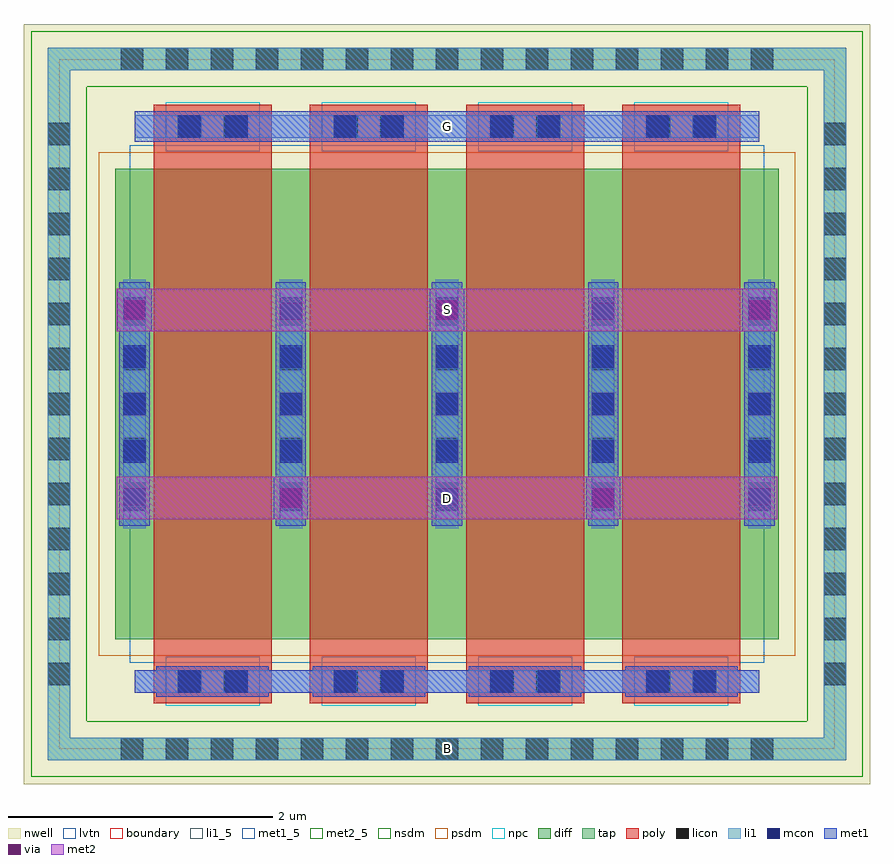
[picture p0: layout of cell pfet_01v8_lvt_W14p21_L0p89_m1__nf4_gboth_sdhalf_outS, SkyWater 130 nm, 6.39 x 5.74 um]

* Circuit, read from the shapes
.subckt pfet_01v8_lvt_W14p21_L0p89_m1__nf4_gboth_sdhalf_outS B D G S
XM1 D G S B sky130_fd_pr__pfet_01v8_lvt w=3.55 l=0.89 m=4
.ends

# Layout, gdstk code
import gdstk
lib = gdstk.Library(unit=1e-6, precision=1e-09)
def R(c, l, rs):  # rectangles x0, y0, x1, y1
    for r in rs: c.add(gdstk.rectangle(r[:2], r[2:], *l))
def A(c, l, x, y, w, h, nx, ny, dx, dy):  # array of equal rectangles
    R(c, l, [(x+i*dx, y+j*dy, x+i*dx+w, y+j*dy+h) for i in range(nx) for j in range(ny)])
nwell = (64, 20)
diff = (65, 20)
tap = (65, 44)
poly = (66, 20)
licon = (66, 44)
li1_5 = (67, 5)
li1 = (67, 20)
mcon = (67, 44)
met1_5 = (68, 5)
met1 = (68, 20)
via = (68, 44)
met2_5 = (69, 5)
met2 = (69, 20)
nsdm = (93, 44)
psdm = (94, 20)
npc = (95, 20)
lvtn = (125, 44)
boundary = (235, 4)

sky130_fd_pr__pfet_01v8_ = lib.new_cell('sky130_fd_pr__pfet_01v8_lvt_37QT9V')
R(sky130_fd_pr__pfet_01v8_, nwell, [(-3.195,-2.87,3.195,2.87)])
R(sky130_fd_pr__pfet_01v8_, diff, [(-2.505,-1.775,2.505,1.775)])
R(sky130_fd_pr__pfet_01v8_, tap, [(-3.015,-2.69,3.015,-2.52), (-3.015,-2.52,-2.845,2.52), (2.845,-2.52,3.015,2.52), (-3.015,2.52,3.015,2.69)])
A(sky130_fd_pr__pfet_01v8_, poly, -2.215, -2.26, 0.89, 4.52, 4, 1, 1.18, 0)
A(sky130_fd_pr__pfet_01v8_, licon, -2.465, -2.69, 0.17, 0.17, 15, 2, 0.34, 5.21)
A(sky130_fd_pr__pfet_01v8_, licon, -3.015, -2.125, 0.17, 0.17, 1, 13, 0, 0.34)
A(sky130_fd_pr__pfet_01v8_, licon, 2.845, -2.125, 0.17, 0.17, 1, 13, 0, 0.34)
A(sky130_fd_pr__pfet_01v8_, licon, -2.445, -0.765, 0.17, 0.17, 5, 5, 1.18, 0.34)
R(sky130_fd_pr__pfet_01v8_, licon, [(-2.025,-2.18,-1.855,-2.01), (-1.685,-2.18,-1.515,-2.01), (-0.845,-2.18,-0.675,-2.01), (-0.505,-2.18,-0.335,-2.01), (0.335,-2.18,0.505,-2.01), (0.675,-2.18,0.845,-2.01), (1.515,-2.18,1.685,-2.01), (1.855,-2.18,2.025,-2.01), (-2.025,2.01,-1.855,2.18), (-1.685,2.01,-1.515,2.18), (-0.845,2.01,-0.675,2.18), (-0.505,2.01,-0.335,2.18), (0.335,2.01,0.505,2.18), (0.675,2.01,0.845,2.18), (1.515,2.01,1.685,2.18), (1.855,2.01,2.025,2.18)])
A(sky130_fd_pr__pfet_01v8_, li1, -2.445, -0.94, 0.17, 1.88, 5, 1, 1.18, 0)
R(sky130_fd_pr__pfet_01v8_, li1, [(-3.015,-2.69,3.015,-2.52), (-3.015,-2.52,-2.845,2.52), (2.845,-2.52,3.015,2.52), (-2.36,-2.18,2.36,-2.01), (-2.36,2.01,2.36,2.18), (-3.015,2.52,3.015,2.69)])
A(sky130_fd_pr__pfet_01v8_, mcon, -2.445, -0.805, 0.17, 0.17, 5, 5, 1.18, 0.36)
R(sky130_fd_pr__pfet_01v8_, mcon, [(-2.035,-2.18,-1.865,-2.01), (-1.675,-2.18,-1.505,-2.01), (-0.855,-2.18,-0.685,-2.01), (-0.495,-2.18,-0.325,-2.01), (0.325,-2.18,0.495,-2.01), (0.685,-2.18,0.855,-2.01), (1.505,-2.18,1.675,-2.01), (1.865,-2.18,2.035,-2.01), (-2.035,2.01,-1.865,2.18), (-1.675,2.01,-1.505,2.18), (-0.855,2.01,-0.685,2.18), (-0.495,2.01,-0.325,2.18), (0.325,2.01,0.495,2.18), (0.685,2.01,0.855,2.18), (1.505,2.01,1.675,2.18), (1.865,2.01,2.035,2.18)])
A(sky130_fd_pr__pfet_01v8_, met1, -2.195, -2.21, 0.85, 0.03, 4, 2, 1.18, 0.2)
A(sky130_fd_pr__pfet_01v8_, met1, -2.475, -0.92, 0.23, 1.84, 5, 1, 1.18, 0)
A(sky130_fd_pr__pfet_01v8_, met1, -2.195, 1.98, 0.85, 0.03, 4, 2, 1.18, 0.2)
R(sky130_fd_pr__pfet_01v8_, met1, [(-2.36,-2.18,2.36,-2.01), (-2.36,2.01,2.36,2.18)])
R(sky130_fd_pr__pfet_01v8_, nsdm, [(-3.14,-2.815,3.14,-2.395), (-3.14,-2.395,-2.72,2.395), (2.72,-2.395,3.14,2.395), (-3.14,2.395,3.14,2.815)])
R(sky130_fd_pr__pfet_01v8_, psdm, [(-2.63,-1.9,2.63,1.9)])
A(sky130_fd_pr__pfet_01v8_, npc, -2.125, -2.28, 0.71, 0.37, 4, 2, 1.18, 4.19)
R(sky130_fd_pr__pfet_01v8_, lvtn, [(-2.395,-1.955,2.395,1.955)])
R(sky130_fd_pr__pfet_01v8_, boundary, [(-2.93,-2.605,2.93,2.605)])
sky130_fd_pr__pfet_01v8_.add(gdstk.Label('B', (0,-2.605), layer=67, texttype=5))
sky130_fd_pr__pfet_01v8_.add(gdstk.Label('D0', (-2.36,0), layer=67, texttype=5))
sky130_fd_pr__pfet_01v8_.add(gdstk.Label('G', (1.77,2.095), layer=67, texttype=5))
sky130_fd_pr__pfet_01v8_.add(gdstk.Label('G', (0.59,2.095), layer=67, texttype=5))
sky130_fd_pr__pfet_01v8_.add(gdstk.Label('G', (-0.59,2.095), layer=67, texttype=5))
sky130_fd_pr__pfet_01v8_.add(gdstk.Label('G', (-1.77,2.095), layer=67, texttype=5))
sky130_fd_pr__pfet_01v8_.add(gdstk.Label('S1', (-1.18,0), layer=67, texttype=5))
sky130_fd_pr__pfet_01v8_.add(gdstk.Label('D2', (0,0), layer=67, texttype=5))
sky130_fd_pr__pfet_01v8_.add(gdstk.Label('S3', (1.18,0), layer=67, texttype=5))

pfet_01v8_lvt_w14p21_l0p = lib.new_cell('pfet_01v8_lvt_W14p21_L0p89_m1__nf4_gboth_sdhalf_outS')
R(pfet_01v8_lvt_w14p21_l0p, li1_5, [(2.845,-0.085,3.015,0.085)])
R(pfet_01v8_lvt_w14p21_l0p, li1, [(2.845,-0.085,3.015,0.085)])
R(pfet_01v8_lvt_w14p21_l0p, met1_5, [(0.57,4.585,5.29,4.815)])
A(pfet_01v8_lvt_w14p21_l0p, met1, 0.44, 3.155, 0.26, 0.32, 3, 1, 2.36, 0)
R(pfet_01v8_lvt_w14p21_l0p, met1, [(1.62,1.735,1.88,2.055), (3.98,1.735,4.24,2.055), (0.57,4.585,5.29,4.815)])
A(pfet_01v8_lvt_w14p21_l0p, via, 0.495, 3.24, 0.15, 0.15, 3, 1, 2.36, 0)
R(pfet_01v8_lvt_w14p21_l0p, via, [(1.675,1.82,1.825,1.97), (4.035,1.82,4.185,1.97)])
R(pfet_01v8_lvt_w14p21_l0p, met2_5, [(0.435,1.735,5.425,2.055), (0.435,3.155,5.425,3.475)])
R(pfet_01v8_lvt_w14p21_l0p, met2, [(0.435,1.735,5.425,2.055), (0.435,3.155,5.425,3.475)])
pfet_01v8_lvt_w14p21_l0p.add(gdstk.Reference(sky130_fd_pr__pfet_01v8_, (2.93,2.605)))
pfet_01v8_lvt_w14p21_l0p.add(gdstk.Label('S', (2.93,3.315), layer=69, texttype=5))
pfet_01v8_lvt_w14p21_l0p.add(gdstk.Label('D', (2.93,1.895), layer=69, texttype=5))
pfet_01v8_lvt_w14p21_l0p.add(gdstk.Label('G', (2.93,4.7), layer=68, texttype=5))
pfet_01v8_lvt_w14p21_l0p.add(gdstk.Label('B', (2.93,0), layer=67, texttype=5))

lib.write_gds('pfet_01v8_lvt_W14p21_L0p89_m1__nf4_gboth_sdhalf_outS.gds')
